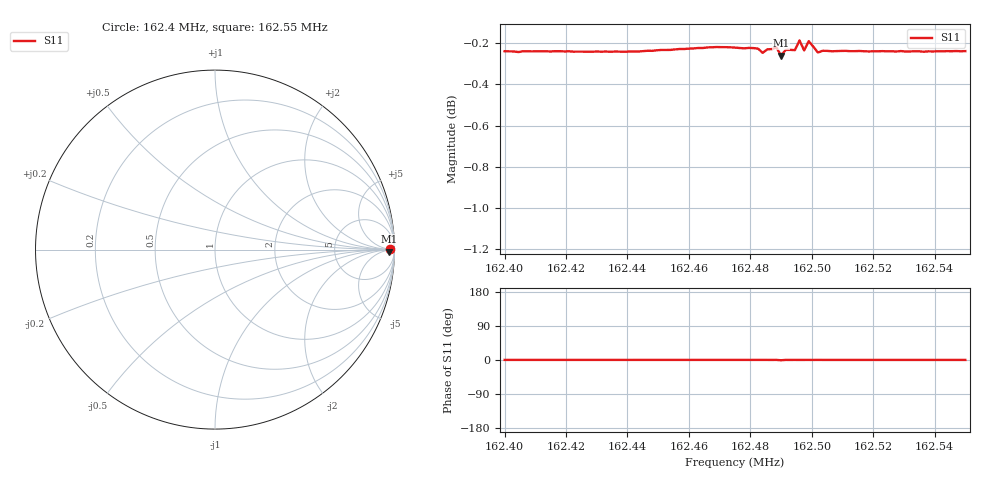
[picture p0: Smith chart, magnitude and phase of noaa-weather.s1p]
! Calibrated averaged scanner-service zoom
# Hz S RI R 50
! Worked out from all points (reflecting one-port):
!   101 points, 162.4 MHz to 162.55 MHz, reference 50 ohm
!   lowest |S11| = -0.3 dB at 162.49 MHz (marker M1), VSWR 66.83, Z = 2.95e+03 - j1.08e+03 ohm
!   phase of S11 starts at 0 deg and turns -0 deg over the sweep
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1.624e8  0.9729 0.00475
1.624045e8  0.9724 0.00486
1.62406e8  0.9729 0.00468
1.624195e8  0.9728 0.00465
1.624375e8  0.9726 0.00436
1.624435e8  0.9727 0.00444
1.62457e8  0.9741 0.00454
1.62469e8  0.9751 0.00486
1.62475e8  0.9748 0.00473
1.624825e8  0.9743 0.00457
1.62484e8  0.972 0.00463
1.624855e8  0.9739 0.00433
1.62487e8  0.974 0.0027
1.624885e8  0.9749 0.00523
1.6249e8  0.9705 -0.0106
1.624915e8  0.9736 0.00425
1.62493e8  0.9736 0.00342
1.624945e8  0.9735 0.00422
1.62496e8  0.9787 0.00338
1.624975e8  0.9733 0.00391
1.62499e8  0.9784 0.00433
1.625005e8  0.9753 0.00307
1.62502e8  0.9721 0.00554
1.625035e8  0.9731 0.00395
1.62505e8  0.9731 0.00369
1.625125e8  0.9729 0.00378
1.62532e8  0.9728 0.00362
1.6255e8  0.9729 0.00361
